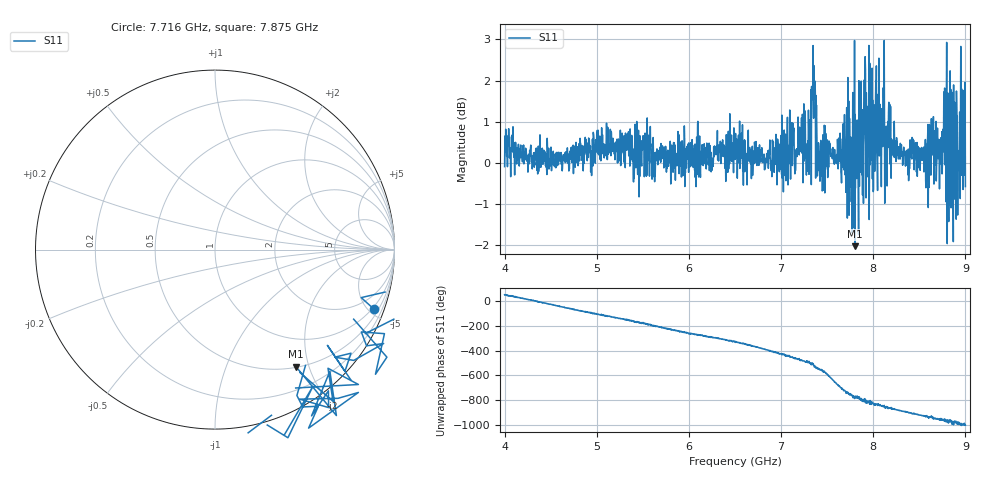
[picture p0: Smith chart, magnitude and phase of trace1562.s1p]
! Created with skrf 1.8.0 (http://scikit-rf.org).
# Hz S RI R 50.0
!freq ReS11 ImS11
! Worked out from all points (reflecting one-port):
!   1601 points, 4 GHz to 9 GHz, reference 50 ohm
!   lowest |S11| = -2.0 dB at 7.8 GHz (marker M1), VSWR 8.65, Z = 25.6 - j89.7 ohm
!   phase of S11 starts at 51 deg and turns -1053 deg over the sweep
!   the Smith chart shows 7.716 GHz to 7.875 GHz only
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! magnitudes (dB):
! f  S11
! 4 GHz  -0.1
! 4.028 GHz  0.3
! 4.625 GHz  -0.2
! 5.25 GHz  0.1
! 5.875 GHz  0.2
! 6.5 GHz  0.1
! 7.038 GHz  0.1
! 7.125 GHz  0.7
! 7.294 GHz  0.3
! 7.356 GHz  2.4
! 7.4 GHz  0.4
! 7.428 GHz  -0.2
! 7.75 GHz  -0.6
! 7.775 GHz  0.4
! 7.8 GHz  -2.0
! 7.928 GHz  0.7
! 7.944 GHz  1.1
! 7.962 GHz  2.4
! 7.981 GHz  1.0
! 8.097 GHz  1.2
! 8.15 GHz  -0.6
! 8.375 GHz  0.1
! 8.656 GHz  0.3
! 8.728 GHz  0.3
! 8.791 GHz  -0.9
! 8.869 GHz  -1.9
! 8.972 GHz  0.6
! 9 GHz  -0.6
